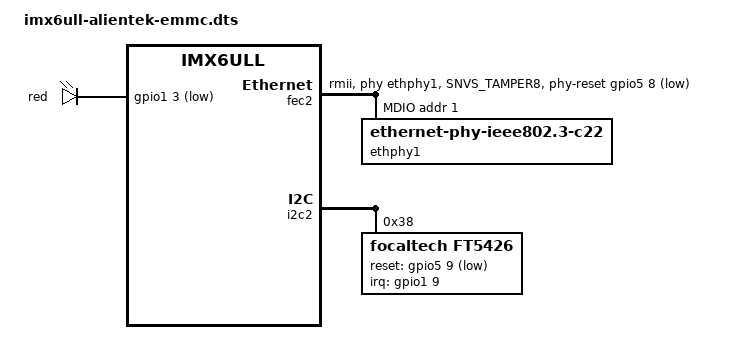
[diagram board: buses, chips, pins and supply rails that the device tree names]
/*
 * Copyright 2019 NXP
 *
 * This program is free software; you can redistribute it and/or
 * modify it under the terms of the GNU General Public License
 * as published by the Free Software Foundation; either version 2
 * of the License, or (at your option) any later version.
 */

#include "imx6ull-14x14-evk-emmc.dts"

&{/} {
    dtsled {
        compatible = "gpio-leds";

		led0 {
			label = "red";
			gpios = <&gpio1 3 GPIO_ACTIVE_LOW>;
			default-state = "off";
			linux,default-trigger = "heartbeat";
		};
    };
};


&display0 {
    bits-per-pixel = <24>;
    bus-width = <24>;

    display-timings {
        timing0 {
            clock-frequency = <33300000>;
            hactive = <800>;
            vactive = <480>;
            hfront-porch = <210>;
            hback-porch = <46>;
            hsync-len = <1>;
            vback-porch = <23>;
            vfront-porch = <22>;
            vsync-len = <1>;

            hsync-active = <0>;
            vsync-active = <0>;
            de-active = <1>;
            pixelclk-active = <0>;
        };
    };
};
/*
&fec1 {
	pinctrl-names = "default";
    pinctrl-0 = <&pinctrl_enet1
                &pinctrl_enet1_reset
    >;
    phy-mode = "rmii";
    phy-handle = <&ethphy0>;
    phy-reset-gpios = <&gpio5 7 GPIO_ACTIVE_LOW>;
    phy-reset-duration = <200>;
    status = "okay";
};
*/
&fec2 {
	pinctrl-names = "default";
    pinctrl-0 = <&pinctrl_enet2
                &pinctrl_enet2_reset
    >;
    phy-mode = "rmii";
    phy-handle = <&ethphy1>;
    phy-reset-gpios = <&gpio5 8 GPIO_ACTIVE_LOW>;
    phy-reset-duration = <200>;
    status = "okay";

    mdio {
        #address-cells = <1>;
        #size-cells = <0>;
 
        /*ethphy0: ethernet-phy@0 {
            compatible = "ethernet-phy-ieee802.3-c22";
            reg = <0>;
        };
        */
        ethphy1: ethernet-phy@1 {
            compatible = "ethernet-phy-ieee802.3-c22";
            reg = <1>;
        };
    }; 
};

&i2c2 {
    ft5426: ft5426@38 {
        compatible = "focaltech,ft5426";
        reg = <0x38>;

        pinctrl-names = "default";
        pinctrl-0 = <&pinctrl_tsc1_alientek &pinctrl_tsc_reset>;

        interrupt-parent = <&gpio1>;
        interrupts = <9 IRQ_TYPE_EDGE_FALLING>;
        reset-gpios = <&gpio5 9 GPIO_ACTIVE_LOW>;

        touchscreen-size-x = <800>;
        touchscreen-size-y = <480>;
        touchscreen-swapped-x-y;
    };
};

&iomuxc{
    // pinctrl_enet1_reset: enet1resetgrp {
    //     fsl,pins = <
    //         MX6UL_PAD_SNVS_TAMPER7__GPIO5_IO07  0x10b0
    //     >;
    // };
    pinctrl_enet2_reset: enet2resetgrp {
        fsl,pins = <
            MX6UL_PAD_SNVS_TAMPER8__GPIO5_IO08  0x10b0
        >;
    };

    pinctrl_tsc1_alientek: tscgrp_alientek {
        fsl,pins = <
            MX6UL_PAD_GPIO1_IO09__GPIO1_IO09  0xF080
        >;
    };
    pinctrl_tsc_reset: tscresetgrp {
        fsl,pins = <
            MX6UL_PAD_SNVS_TAMPER9__GPIO5_IO09  0x10b0
        >;
    };
};

